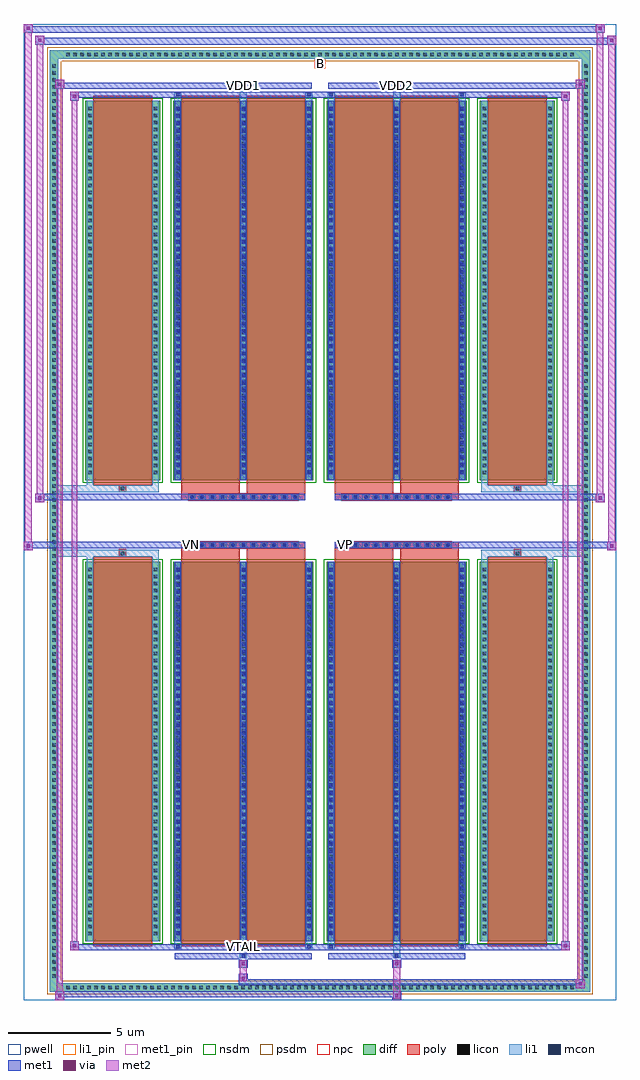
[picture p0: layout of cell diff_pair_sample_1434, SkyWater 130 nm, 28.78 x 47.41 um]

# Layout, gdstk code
import gdstk
lib = gdstk.Library(unit=1e-6, precision=5e-09)
def R(c, l, rs):  # rectangles x0, y0, x1, y1
    for r in rs: c.add(gdstk.rectangle(r[:2], r[2:], *l))
def A(c, l, x, y, w, h, nx, ny, dx, dy):  # array of equal rectangles
    R(c, l, [(x+i*dx, y+j*dy, x+i*dx+w, y+j*dy+h) for i in range(nx) for j in range(ny)])
def P(c, l, *ps):  # polygons
    for p in ps: c.add(gdstk.Polygon(p, *l))
pwell = (64, 44)
diff = (65, 20)
poly = (66, 20)
licon = (66, 44)
li1_pin = (67, 16)
li1 = (67, 20)
mcon = (67, 44)
met1_pin = (68, 16)
met1 = (68, 20)
via = (68, 44)
met2 = (69, 20)
nsdm = (93, 44)
psdm = (94, 20)
npc = (95, 20)

diff_pair_sample_1434 = lib.new_cell('diff_pair_sample_1434')
R(diff_pair_sample_1434, pwell, [(-14.39,-23.27,14.39,24.14), (-11.71,-21.46,-0.01,-0.8), (0.01,-21.46,11.71,-0.8), (-11.71,0.8,-0.01,21.46), (0.01,0.8,11.71,21.46)])
A(diff_pair_sample_1434, diff, -12.445, -22.87, 0.41, 0.41, 73, 2, 0.34, 45.33)
A(diff_pair_sample_1434, diff, -13.12, -22.305, 0.41, 0.41, 1, 131, 0, 0.34)
A(diff_pair_sample_1434, diff, 12.71, -22.305, 0.41, 0.41, 1, 131, 0, 0.34)
R(diff_pair_sample_1434, diff, [(-12.445,-22.87,12.445,-22.46), (-13.12,-22.305,-12.71,22.305), (12.71,-22.305,13.12,22.305), (-11.4,-20.415,-7.77,-1.985), (-7.13,-20.415,-0.32,-1.985), (0.32,-20.415,7.13,-1.985), (7.77,-20.415,11.4,-1.985), (-11.4,1.985,-7.77,20.415), (-7.13,1.985,-0.32,20.415), (0.32,1.985,7.13,20.415), (7.77,1.985,11.4,20.415), (-12.445,22.46,12.445,22.87)])
P(diff_pair_sample_1434, diff, [(13.12,22.87),(-13.12,22.87),(-13.12,-22.46),(-12.71,-22.46),(-12.71,22.46),(12.71,22.46),(12.71,-22.46),(-12.71,-22.46),(-13.12,-22.46),(-13.12,-22.87),(13.12,-22.87)])
A(diff_pair_sample_1434, poly, -6.39, -1.33, 0.33, 0.33, 11, 2, 0.5, 2.33)
A(diff_pair_sample_1434, poly, 1.06, -1.33, 0.33, 0.33, 11, 2, 0.5, 2.33)
R(diff_pair_sample_1434, poly, [(-11.01,-20.665,-8.16,-1.735), (-6.74,-20.665,-3.89,-1.735), (-3.56,-20.665,-0.71,-1.735), (0.71,-20.665,3.56,-1.735), (3.89,-20.665,6.74,-1.735), (8.16,-20.665,11.01,-1.735), (-9.75,-1.735,-9.42,-1.405), (-9.75,-1.735,-9.42,-1.405), (-6.74,-1.735,-3.89,-1.33), (-3.56,-1.735,-0.71,-1.33), (0.71,-1.735,3.56,-1.33), (3.89,-1.735,6.74,-1.33), (9.42,-1.735,9.75,-1.405), (9.42,-1.735,9.75,-1.405), (-6.74,-1.33,-0.71,-1), (0.71,-1.33,6.74,-1), (-6.74,1,-0.71,1.33), (0.71,1,6.74,1.33), (-6.74,1.33,-3.89,1.735), (-3.56,1.33,-0.71,1.735), (0.71,1.33,3.56,1.735), (3.89,1.33,6.74,1.735), (-9.75,1.405,-9.42,1.735), (-9.75,1.405,-9.42,1.735), (9.42,1.405,9.75,1.735), (9.42,1.405,9.75,1.735), (-11.01,1.735,-8.16,20.665), (-6.74,1.735,-3.89,20.665), (-3.56,1.735,-0.71,20.665), (0.71,1.735,3.56,20.665), (3.89,1.735,6.74,20.665), (8.16,1.735,11.01,20.665)])
A(diff_pair_sample_1434, licon, -12.325, -22.75, 0.17, 0.17, 73, 2, 0.34, 45.33)
A(diff_pair_sample_1434, licon, -13, -22.185, 0.17, 0.17, 1, 131, 0, 0.34)
A(diff_pair_sample_1434, licon, 12.83, -22.185, 0.17, 0.17, 1, 131, 0, 0.34)
A(diff_pair_sample_1434, licon, -11.26, -20.125, 0.17, 0.17, 1, 53, 0, 0.34)
A(diff_pair_sample_1434, licon, -8.08, -20.125, 0.17, 0.17, 1, 53, 0, 0.34)
A(diff_pair_sample_1434, licon, -6.99, -20.125, 0.17, 0.17, 3, 53, 3.18, 0.34)
A(diff_pair_sample_1434, licon, 0.46, -20.125, 0.17, 0.17, 3, 53, 3.18, 0.34)
A(diff_pair_sample_1434, licon, 7.91, -20.125, 0.17, 0.17, 1, 53, 0, 0.34)
A(diff_pair_sample_1434, licon, 11.09, -20.125, 0.17, 0.17, 1, 53, 0, 0.34)
A(diff_pair_sample_1434, licon, -6.31, -1.25, 0.17, 0.17, 11, 2, 0.5, 2.33)
A(diff_pair_sample_1434, licon, 1.14, -1.25, 0.17, 0.17, 11, 2, 0.5, 2.33)
A(diff_pair_sample_1434, licon, -11.26, 2.275, 0.17, 0.17, 1, 53, 0, 0.34)
A(diff_pair_sample_1434, licon, -8.08, 2.275, 0.17, 0.17, 1, 53, 0, 0.34)
A(diff_pair_sample_1434, licon, -6.99, 2.275, 0.17, 0.17, 3, 53, 3.18, 0.34)
A(diff_pair_sample_1434, licon, 0.46, 2.275, 0.17, 0.17, 3, 53, 3.18, 0.34)
A(diff_pair_sample_1434, licon, 7.91, 2.275, 0.17, 0.17, 1, 53, 0, 0.34)
A(diff_pair_sample_1434, licon, 11.09, 2.275, 0.17, 0.17, 1, 53, 0, 0.34)
R(diff_pair_sample_1434, licon, [(-9.67,-1.655,-9.5,-1.485), (9.5,-1.655,9.67,-1.485), (-9.67,1.485,-9.5,1.655), (9.5,1.485,9.67,1.655)])
R(diff_pair_sample_1434, li1_pin, [(-0.25,21.96,0.25,22.46)])
A(diff_pair_sample_1434, li1, -12.405, -22.83, 0.33, 0.33, 73, 2, 0.34, 45.33)
A(diff_pair_sample_1434, li1, -13.08, -22.265, 0.33, 0.33, 1, 131, 0, 0.34)
A(diff_pair_sample_1434, li1, 12.75, -22.265, 0.33, 0.33, 1, 131, 0, 0.34)
A(diff_pair_sample_1434, li1, -7.07, -20.415, 0.33, 18.43, 3, 2, 3.18, 22.4)
A(diff_pair_sample_1434, li1, 0.38, -20.415, 0.33, 18.43, 3, 2, 3.18, 22.4)
A(diff_pair_sample_1434, li1, -11.34, -20.205, 0.33, 0.33, 1, 53, 0, 0.34)
A(diff_pair_sample_1434, li1, -8.16, -20.205, 0.33, 0.33, 1, 53, 0, 0.34)
A(diff_pair_sample_1434, li1, -7.07, -20.205, 0.33, 0.33, 3, 53, 3.18, 0.34)
A(diff_pair_sample_1434, li1, 0.38, -20.205, 0.33, 0.33, 3, 53, 3.18, 0.34)
A(diff_pair_sample_1434, li1, 7.83, -20.205, 0.33, 0.33, 1, 53, 0, 0.34)
A(diff_pair_sample_1434, li1, 11.01, -20.205, 0.33, 0.33, 1, 53, 0, 0.34)
A(diff_pair_sample_1434, li1, -6.99, -20.105, 0.17, 0.17, 3, 50, 3.18, 0.36)
A(diff_pair_sample_1434, li1, -6.99, -20.105, 0.17, 17.81, 3, 2, 3.18, 22.4)
A(diff_pair_sample_1434, li1, 0.46, -20.105, 0.17, 0.17, 3, 50, 3.18, 0.36)
A(diff_pair_sample_1434, li1, 0.46, -20.105, 0.17, 17.81, 3, 2, 3.18, 22.4)
A(diff_pair_sample_1434, li1, -6.39, -1.33, 0.33, 0.33, 11, 2, 0.5, 2.33)
A(diff_pair_sample_1434, li1, 1.06, -1.33, 0.33, 0.33, 11, 2, 0.5, 2.33)
A(diff_pair_sample_1434, li1, -11.34, 2.195, 0.33, 0.33, 1, 53, 0, 0.34)
A(diff_pair_sample_1434, li1, -8.16, 2.195, 0.33, 0.33, 1, 53, 0, 0.34)
A(diff_pair_sample_1434, li1, -7.07, 2.195, 0.33, 0.33, 3, 53, 3.18, 0.34)
A(diff_pair_sample_1434, li1, 0.38, 2.195, 0.33, 0.33, 3, 53, 3.18, 0.34)
A(diff_pair_sample_1434, li1, 7.83, 2.195, 0.33, 0.33, 1, 53, 0, 0.34)
A(diff_pair_sample_1434, li1, 11.01, 2.195, 0.33, 0.33, 1, 53, 0, 0.34)
A(diff_pair_sample_1434, li1, -6.99, 2.295, 0.17, 0.17, 3, 50, 3.18, 0.36)
A(diff_pair_sample_1434, li1, 0.46, 2.295, 0.17, 0.17, 3, 50, 3.18, 0.36)
R(diff_pair_sample_1434, li1, [(-13.12,-22.87,-12.71,-22.46), (-13.12,-22.87,-12.71,-22.46), (-12.71,-22.87,12.71,-22.46), (12.71,-22.87,13.12,-22.46), (12.71,-22.87,13.12,-22.46), (-13.12,-22.46,-12.71,22.46), (12.71,-22.46,13.12,22.46), (-3.89,-21.22,-3.56,-20.415), (-3.81,-21.22,-3.64,-21.05), (3.56,-21.22,3.89,-20.415), (3.64,-21.22,3.81,-21.05), (-7.07,-20.79,-6.74,-20.415), (-6.99,-20.79,-6.82,-20.62), (-0.71,-20.79,-0.38,-20.415), (-0.63,-20.79,-0.46,-20.62), (0.38,-20.79,0.71,-20.415), (0.46,-20.79,0.63,-20.62), (6.74,-20.79,7.07,-20.415), (6.82,-20.79,6.99,-20.62), (-11.34,-20.415,-11.01,-1.985), (-8.16,-20.415,-7.83,-1.985), (7.83,-20.415,8.16,-1.985), (11.01,-20.415,11.34,-1.985), (-11.34,-1.985,-11.01,-1.405), (-8.16,-1.985,-7.83,-1.405), (7.83,-1.985,8.16,-1.405), (11.01,-1.985,11.34,-1.405), (-13.12,-1.735,-9.75,-1.405), (-11.34,-1.735,-9.75,-1.405), (-9.75,-1.735,-9.42,-1.405), (-9.42,-1.735,-7.83,-1.405), (7.83,-1.735,9.42,-1.405), (9.42,-1.735,9.75,-1.405), (9.42,-1.735,13.12,-1.405), (9.75,-1.735,11.34,-1.405), (-13.12,1.405,-9.75,1.735), (-11.34,1.405,-9.75,1.735), (-11.34,1.405,-11.01,1.985), (-9.75,1.405,-9.42,1.735), (-9.42,1.405,-7.83,1.735), (-8.16,1.405,-7.83,1.985), (7.83,1.405,9.42,1.735), (7.83,1.405,8.16,1.985), (9.42,1.405,9.75,1.735), (9.42,1.405,13.12,1.735), (9.75,1.405,11.34,1.735), (11.01,1.405,11.34,1.985), (-11.34,1.985,-11.01,20.415), (-8.16,1.985,-7.83,20.415), (7.83,1.985,8.16,20.415), (11.01,1.985,11.34,20.415), (-7.07,20.415,-6.74,20.79), (-3.89,20.415,-3.56,21.22), (-0.71,20.415,-0.38,20.79), (0.38,20.415,0.71,20.79), (3.56,20.415,3.89,21.22), (6.74,20.415,7.07,20.79), (-6.99,20.62,-6.82,20.79), (-0.63,20.62,-0.46,20.79), (0.46,20.62,0.63,20.79), (6.82,20.62,6.99,20.79), (-3.81,21.05,-3.64,21.22), (3.64,21.05,3.81,21.22), (-13.12,22.46,-12.71,22.87), (-13.12,22.46,-12.71,22.87), (-12.71,22.46,12.71,22.87), (12.71,22.46,13.12,22.87), (12.71,22.46,13.12,22.87)])
A(diff_pair_sample_1434, mcon, -6.99, -20.105, 0.17, 0.17, 3, 50, 3.18, 0.36)
A(diff_pair_sample_1434, mcon, 0.46, -20.105, 0.17, 0.17, 3, 50, 3.18, 0.36)
A(diff_pair_sample_1434, mcon, -6.31, -1.25, 0.17, 0.17, 11, 2, 0.5, 2.33)
A(diff_pair_sample_1434, mcon, 1.14, -1.25, 0.17, 0.17, 11, 2, 0.5, 2.33)
A(diff_pair_sample_1434, mcon, -6.99, 2.295, 0.17, 0.17, 3, 50, 3.18, 0.36)
A(diff_pair_sample_1434, mcon, 0.46, 2.295, 0.17, 0.17, 3, 50, 3.18, 0.36)
R(diff_pair_sample_1434, mcon, [(-3.81,-21.22,-3.64,-21.05), (3.64,-21.22,3.81,-21.05), (-6.99,-20.79,-6.82,-20.62), (-0.63,-20.79,-0.46,-20.62), (0.46,-20.79,0.63,-20.62), (6.82,-20.79,6.99,-20.62), (-6.99,20.62,-6.82,20.79), (-0.63,20.62,-0.46,20.79), (0.46,20.62,0.63,20.79), (6.82,20.62,6.99,20.79), (-3.81,21.05,-3.64,21.22), (3.64,21.05,3.81,21.22)])
R(diff_pair_sample_1434, met1_pin, [(-3.86,-20.83,-3.59,-20.56), (-6.36,-1.29,-6.09,-1.02), (1.09,-1.29,1.36,-1.02), (-3.86,21.01,-3.59,21.28), (3.59,21.01,3.86,21.28)])
A(diff_pair_sample_1434, met1, -7.05, -20.415, 0.29, 18.43, 3, 2, 3.18, 22.4)
A(diff_pair_sample_1434, met1, 0.4, -20.415, 0.29, 18.43, 3, 2, 3.18, 22.4)
A(diff_pair_sample_1434, met1, -7.05, -20.165, 0.29, 0.29, 3, 50, 3.18, 0.36)
A(diff_pair_sample_1434, met1, 0.4, -20.165, 0.29, 0.29, 3, 50, 3.18, 0.36)
A(diff_pair_sample_1434, met1, -6.37, -1.31, 0.29, 0.29, 11, 2, 0.5, 2.33)
A(diff_pair_sample_1434, met1, 1.08, -1.31, 0.29, 0.29, 11, 2, 0.5, 2.33)
A(diff_pair_sample_1434, met1, -7.05, 2.235, 0.29, 0.29, 3, 50, 3.18, 0.36)
A(diff_pair_sample_1434, met1, 0.4, 2.235, 0.29, 0.29, 3, 50, 3.18, 0.36)
R(diff_pair_sample_1434, met1, [(-12.85,-23.27,-12.42,-22.84), (3.51,-23.27,3.94,-22.84), (-12.85,-23.13,3.94,-22.84), (12.42,-22.7,12.85,-22.27), (-3.94,-22.56,12.85,-22.27), (-3.94,-22.42,-3.51,-21.99), (-3.94,-21.71,-3.51,-21.28), (3.51,-21.71,3.94,-21.28), (-7.05,-21.28,-0.4,-20.99), (-3.87,-21.28,-3.58,-20.99), (0.4,-21.28,7.05,-20.99), (3.58,-21.28,3.87,-20.99), (-12.14,-20.85,-11.71,-20.42), (-12.14,-20.85,-7.05,-20.56), (-7.05,-20.85,-6.76,-20.56), (-7.05,-20.85,-0.4,-20.56), (-0.69,-20.85,-0.4,-20.56), (-0.4,-20.85,0.4,-20.56), (0.4,-20.85,0.69,-20.56), (0.4,-20.85,7.05,-20.56), (6.76,-20.85,7.05,-20.56), (7.05,-20.85,12.14,-20.56), (11.71,-20.85,12.14,-20.42), (-14.39,-1.43,-13.96,-1), (13.96,-1.43,14.39,-1), (-14.39,-1.33,-0.71,-1), (-6.74,-1.33,-0.71,-1), (0.71,-1.33,6.74,-1), (0.71,-1.33,14.39,-1), (-13.82,0.9,-13.39,1.33), (13.39,0.9,13.82,1.33), (-13.82,1,-6.74,1.33), (-6.74,1,-0.71,1.33), (0.71,1,6.74,1.33), (6.74,1,13.82,1.33), (-12.14,20.42,-11.71,20.85), (11.71,20.42,12.14,20.85), (-12.14,20.56,-7.05,20.85), (-7.05,20.56,-6.76,20.85), (-7.05,20.56,-0.4,20.85), (-0.69,20.56,-0.4,20.85), (-0.4,20.56,0.4,20.85), (0.4,20.56,0.69,20.85), (0.4,20.56,7.05,20.85), (6.76,20.56,7.05,20.85), (7.05,20.56,12.14,20.85), (-12.85,20.99,-12.42,21.42), (-12.85,20.99,-7.05,21.28), (-7.05,20.99,-0.4,21.28), (-3.87,20.99,-3.58,21.28), (0.4,20.99,7.05,21.28), (3.58,20.99,3.87,21.28), (7.05,20.99,12.85,21.28), (12.42,20.99,12.85,21.42), (-13.82,23.14,-13.39,23.57), (-13.82,23.14,-11.71,23.47), (-11.71,23.14,11.71,23.47), (11.71,23.14,14.39,23.47), (13.96,23.14,14.39,23.57), (-14.39,23.71,-13.96,24.14), (-14.39,23.71,-11.71,24.04), (-11.71,23.71,11.71,24.04), (11.71,23.71,13.82,24.04), (13.39,23.71,13.82,24.14)])
R(diff_pair_sample_1434, via, [(-12.71,-23.13,-12.56,-22.98), (3.65,-23.13,3.8,-22.98), (12.56,-22.56,12.71,-22.41), (-3.8,-22.28,-3.65,-22.13), (-3.8,-21.57,-3.65,-21.42), (3.65,-21.57,3.8,-21.42), (-12,-20.71,-11.85,-20.56), (11.85,-20.71,12,-20.56), (-14.25,-1.29,-14.1,-1.14), (14.1,-1.29,14.25,-1.14), (-13.68,1.04,-13.53,1.19), (13.53,1.04,13.68,1.19), (-12,20.56,-11.85,20.71), (11.85,20.56,12,20.71), (-12.71,21.13,-12.56,21.28), (12.56,21.13,12.71,21.28), (-13.68,23.28,-13.53,23.43), (14.1,23.28,14.25,23.43), (-14.25,23.85,-14.1,24), (13.53,23.85,13.68,24)])
R(diff_pair_sample_1434, met2, [(-12.85,-23.27,-12.42,-22.84), (-12.78,-23.27,-12.49,21.42), (-12.49,-23.27,-12.42,-22.84), (-12.8,-23.22,-12.47,-22.89), (3.56,-23.22,3.89,-22.89), (3.56,-22.89,3.89,-21.66), (12.42,-22.7,12.85,-22.27), (12.49,-22.7,12.78,21.42), (12.78,-22.7,12.85,-22.27), (12.47,-22.65,12.8,-22.32), (-3.89,-22.37,-3.56,-22.04), (-3.89,-22.04,-3.56,-21.66), (-3.89,-21.66,-3.56,-21.33), (3.56,-21.66,3.89,-21.33), (-12.14,-20.85,-11.71,-20.42), (-12.07,-20.85,-11.78,20.85), (-11.78,-20.85,-11.71,-20.42), (11.71,-20.85,12.14,-20.42), (11.78,-20.85,12.07,20.85), (12.07,-20.85,12.14,-20.42), (-12.09,-20.8,-11.76,-20.47), (11.76,-20.8,12.09,-20.47), (-14.39,-1.43,-13.96,-1), (-14.34,-1.43,-14.01,24.14), (-14.01,-1.43,-13.96,-1), (13.96,-1.43,14.39,-1), (14.01,-1.43,14.34,23.57), (14.34,-1.43,14.39,-1), (-14.34,-1.38,-14.01,-1.05), (14.01,-1.38,14.34,-1.05), (-13.82,0.9,-13.39,1.33), (-13.77,0.9,-13.44,23.57), (-13.44,0.9,-13.39,1.33), (13.39,0.9,13.82,1.33), (13.44,0.9,13.77,24.14), (13.77,0.9,13.82,1.33), (-13.77,0.95,-13.44,1.28), (13.44,0.95,13.77,1.28), (-12.14,20.42,-11.71,20.85), (-11.78,20.42,-11.71,20.85), (11.71,20.42,12.14,20.85), (12.07,20.42,12.14,20.85), (-12.09,20.47,-11.76,20.8), (11.76,20.47,12.09,20.8), (-12.85,20.99,-12.42,21.42), (-12.49,20.99,-12.42,21.42), (12.42,20.99,12.85,21.42), (12.78,20.99,12.85,21.42), (-12.8,21.04,-12.47,21.37), (12.47,21.04,12.8,21.37), (-13.82,23.14,-13.39,23.57), (-13.44,23.14,-13.39,23.57), (13.96,23.14,14.39,23.57), (14.34,23.14,14.39,23.57), (-13.77,23.19,-13.44,23.52), (14.01,23.19,14.34,23.52), (-14.39,23.71,-13.96,24.14), (-14.01,23.71,-13.96,24.14), (13.39,23.71,13.82,24.14), (13.77,23.71,13.82,24.14), (-14.34,23.76,-14.01,24.09), (13.44,23.76,13.77,24.09)])
R(diff_pair_sample_1434, nsdm, [(-11.53,-20.545,-7.64,-1.855), (-7.26,-20.545,-0.19,-1.855), (0.19,-20.545,7.26,-1.855), (7.64,-20.545,11.53,-1.855), (-11.53,1.855,-7.64,20.545), (-7.26,1.855,-0.19,20.545), (0.19,1.855,7.26,20.545), (7.64,1.855,11.53,20.545)])
P(diff_pair_sample_1434, psdm, [(13.25,23),(-13.25,23),(-13.25,-22.33),(-12.58,-22.33),(-12.58,22.33),(12.58,22.33),(12.58,-22.33),(-12.58,-22.33),(-13.25,-22.33),(-13.25,-23),(13.25,-23)])
A(diff_pair_sample_1434, npc, -6.41, -1.35, 0.37, 0.37, 11, 2, 0.5, 2.33)
A(diff_pair_sample_1434, npc, 1.04, -1.35, 0.37, 0.37, 11, 2, 0.5, 2.33)
R(diff_pair_sample_1434, npc, [(-9.77,-1.755,-9.4,-1.385), (9.4,-1.755,9.77,-1.385), (-6.41,-1.35,-5.54,-0.98), (-6.41,-1.35,-5.54,-0.98), (-5.91,-1.35,-5.04,-0.98), (-5.91,-1.35,-5.04,-0.98), (-5.41,-1.35,-4.54,-0.98), (-5.41,-1.35,-4.54,-0.98), (-4.91,-1.35,-4.04,-0.98), (-4.91,-1.35,-4.04,-0.98), (-4.41,-1.35,-3.54,-0.98), (-4.41,-1.35,-3.54,-0.98), (-3.91,-1.35,-3.04,-0.98), (-3.91,-1.35,-3.04,-0.98), (-3.41,-1.35,-2.54,-0.98), (-3.41,-1.35,-2.54,-0.98), (-2.91,-1.35,-2.04,-0.98), (-2.91,-1.35,-2.04,-0.98), (-2.41,-1.35,-1.54,-0.98), (-2.41,-1.35,-1.54,-0.98), (-1.91,-1.35,-1.04,-0.98), (-1.91,-1.35,-1.04,-0.98), (1.04,-1.35,1.91,-0.98), (1.04,-1.35,1.91,-0.98), (1.54,-1.35,2.41,-0.98), (1.54,-1.35,2.41,-0.98), (2.04,-1.35,2.91,-0.98), (2.04,-1.35,2.91,-0.98), (2.54,-1.35,3.41,-0.98), (2.54,-1.35,3.41,-0.98), (3.04,-1.35,3.91,-0.98), (3.04,-1.35,3.91,-0.98), (3.54,-1.35,4.41,-0.98), (3.54,-1.35,4.41,-0.98), (4.04,-1.35,4.91,-0.98), (4.04,-1.35,4.91,-0.98), (4.54,-1.35,5.41,-0.98), (4.54,-1.35,5.41,-0.98), (5.04,-1.35,5.91,-0.98), (5.04,-1.35,5.91,-0.98), (5.54,-1.35,6.41,-0.98), (5.54,-1.35,6.41,-0.98), (-6.41,0.98,-5.54,1.35), (-6.41,0.98,-5.54,1.35), (-5.91,0.98,-5.04,1.35), (-5.91,0.98,-5.04,1.35), (-5.41,0.98,-4.54,1.35), (-5.41,0.98,-4.54,1.35), (-4.91,0.98,-4.04,1.35), (-4.91,0.98,-4.04,1.35), (-4.41,0.98,-3.54,1.35), (-4.41,0.98,-3.54,1.35), (-3.91,0.98,-3.04,1.35), (-3.91,0.98,-3.04,1.35), (-3.41,0.98,-2.54,1.35), (-3.41,0.98,-2.54,1.35), (-2.91,0.98,-2.04,1.35), (-2.91,0.98,-2.04,1.35), (-2.41,0.98,-1.54,1.35), (-2.41,0.98,-1.54,1.35), (-1.91,0.98,-1.04,1.35), (-1.91,0.98,-1.04,1.35), (1.04,0.98,1.91,1.35), (1.04,0.98,1.91,1.35), (1.54,0.98,2.41,1.35), (1.54,0.98,2.41,1.35), (2.04,0.98,2.91,1.35), (2.04,0.98,2.91,1.35), (2.54,0.98,3.41,1.35), (2.54,0.98,3.41,1.35), (3.04,0.98,3.91,1.35), (3.04,0.98,3.91,1.35), (3.54,0.98,4.41,1.35), (3.54,0.98,4.41,1.35), (4.04,0.98,4.91,1.35), (4.04,0.98,4.91,1.35), (4.54,0.98,5.41,1.35), (4.54,0.98,5.41,1.35), (5.04,0.98,5.91,1.35), (5.04,0.98,5.91,1.35), (5.54,0.98,6.41,1.35), (5.54,0.98,6.41,1.35), (-9.77,1.385,-9.4,1.755), (9.4,1.385,9.77,1.755)])
diff_pair_sample_1434.add(gdstk.Label('VTAIL', (-3.725,-20.695), layer=68, texttype=5))
diff_pair_sample_1434.add(gdstk.Label('VN', (-6.225,-1.155), layer=68, texttype=5))
diff_pair_sample_1434.add(gdstk.Label('VP', (1.225,-1.155), layer=68, texttype=5))
diff_pair_sample_1434.add(gdstk.Label('B', (0,22.21), layer=67, texttype=5))
diff_pair_sample_1434.add(gdstk.Label('VDD2', (3.725,21.145), layer=68, texttype=5))
diff_pair_sample_1434.add(gdstk.Label('VDD1', (-3.725,21.145), layer=68, texttype=5))

lib.write_gds('diff_pair_sample_1434.gds')
